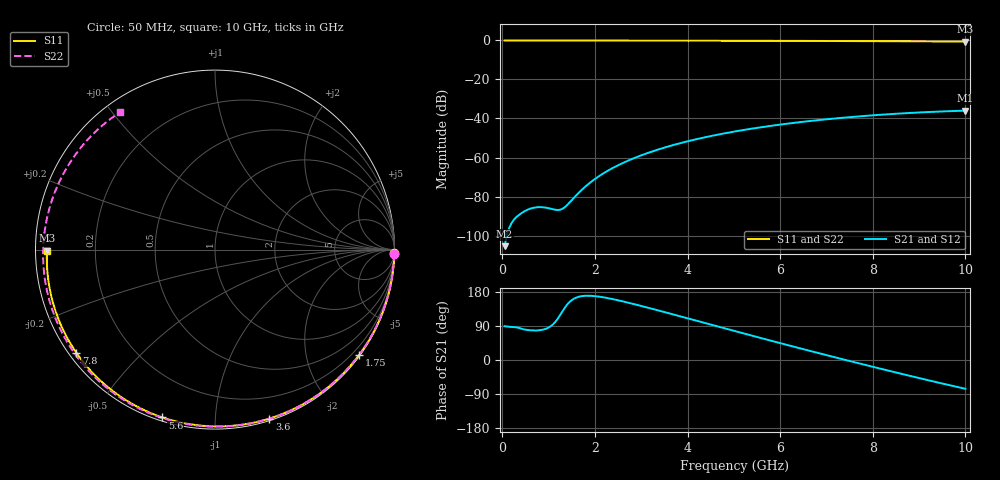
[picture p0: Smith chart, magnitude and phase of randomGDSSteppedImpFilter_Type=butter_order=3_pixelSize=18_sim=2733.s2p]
! freq	dB(S11)	phase(S11)	dB(S12)	phase(S12)
!  dB(S21)	phase(S21)	dB(S22)	phase(S22)
!S-par simulation data
#  GHz  S  DB  R 50
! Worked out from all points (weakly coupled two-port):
!   200 points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, 50 MHz to 10 GHz, reference 50 ohm
!   highest |S21| = -35.98 dB at 10 GHz (marker M1); lowest = -105.5 dB at 50 MHz (marker M2)
!   lowest |S11| = -0.6 dB at 10 GHz (marker M3), VSWR 30.33, Z = 1.65 - j0.148 ohm
!   |S11| at or under -10 dB: nowhere
!   |S22| runs from -0.6 to 0.0 dB; largest |S21 - S12| = 0
!   S11 on the Smith chart (normalised r, x): 50 MHz: open; 1.75 GHz: 0.03, -3.05; 3.6 GHz: 0.02, -1.37; 5.6 GHz: 0.02, -0.73; 7.8 GHz: 0.02, -0.33; 10 GHz: 0.03, -0.00
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0.05  -0.00 -1.0  -105.45 89.1  -105.45 89.1  -0.00 -1.3
0.75  -0.02 -15.7  -85.51 78.1  -85.51 78.1  -0.03 -20.2
1.15  -0.03 -24.0  -86.81 101.3  -86.81 101.3  -0.04 -30.9
1.55  -0.04 -32.2  -80.58 162.0  -80.58 162.0  -0.05 -41.3
1.6  -0.04 -33.2  -79.31 164.8  -79.31 164.8  -0.05 -42.6
1.75  -0.05 -36.3  -75.82 169.1  -75.82 169.1  -0.06 -46.5
2.05  -0.05 -42.3  -70.19 167.8  -70.19 167.8  -0.07 -54.1
2.45  -0.06 -50.2  -64.59 158.9  -64.59 158.9  -0.08 -64.1
2.9  -0.08 -58.9  -59.81 145.8  -59.81 145.8  -0.10 -75.0
3.4  -0.09 -68.4  -55.65 129.8  -55.65 129.8  -0.11 -86.9
3.6  -0.10 -72.1  -54.23 123.3  -54.23 123.3  -0.12 -91.5
4.3  -0.12 -84.9  -50.03 100.1  -50.03 100.1  -0.15 -107.3
5.05  -0.15 -98.0  -46.54 75.3  -46.54 75.3  -0.18 -123.7
5.6  -0.18 -107.4  -44.45 57.4  -44.45 57.4  -0.22 -135.5
6.15  -0.21 -116.6  -42.67 39.7  -42.67 39.7  -0.25 -147.1
6.7  -0.24 -125.6  -41.15 22.2  -41.15 22.2  -0.29 -158.8
7.25  -0.28 -134.5  -39.84 5.0  -39.84 5.0  -0.34 -170.5
7.8  -0.33 -143.4  -38.73 -11.9  -38.73 -11.9  -0.39 177.5
8.35  -0.38 -152.2  -37.80 -28.5  -37.80 -28.5  -0.44 165.2
9.15  -0.47 -165.3  -36.74 -52.0  -36.74 -52.0  -0.53 146.3
9.55  -0.52 -172.0  -36.34 -63.5  -36.34 -63.5  -0.57 136.4
10  -0.57 -179.7  -35.98 -76.0  -35.98 -76.0  -0.63 124.8
